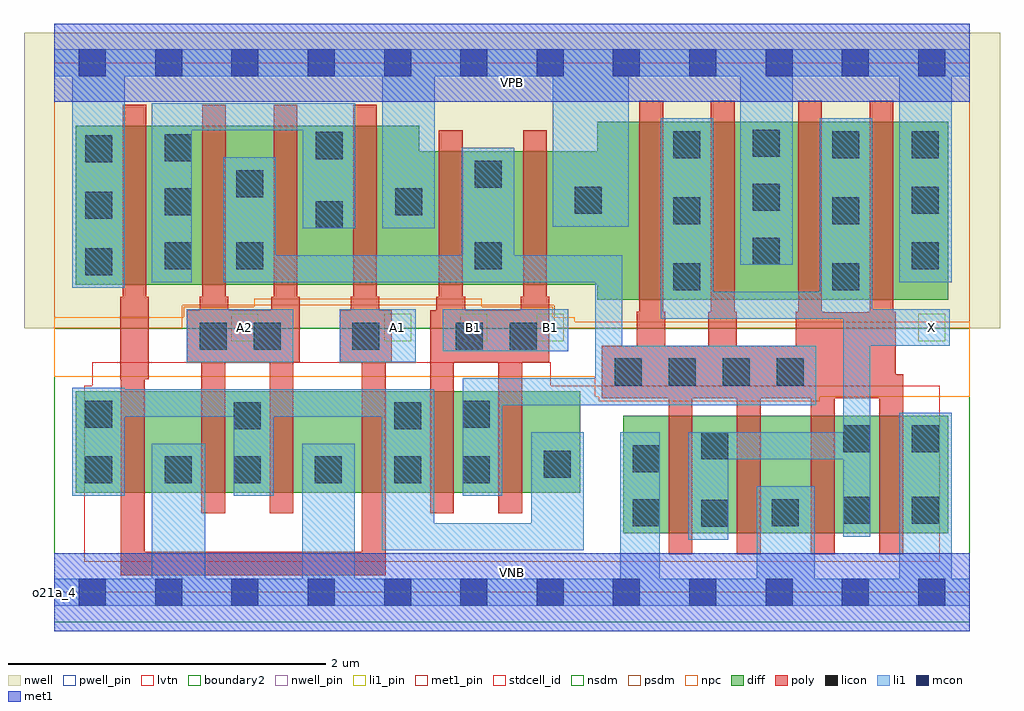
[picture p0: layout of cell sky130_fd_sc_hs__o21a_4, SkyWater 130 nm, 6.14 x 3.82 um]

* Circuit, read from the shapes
.subckt sky130_fd_sc_hs__o21a_4 A1 A2 B1 VGND VNB VPB VPWR X
XM1 VGND A1 n1 VNB sky130_fd_pr__nfet_01v8_lvt w=0.64 l=0.15 m=2
XM2 n1 A2 VGND VNB sky130_fd_pr__nfet_01v8_lvt w=0.64 l=0.15 m=2
XM3 n2 B1 n1 VNB sky130_fd_pr__nfet_01v8_lvt w=0.64 l=0.15 m=2
XM4 X n2 VGND VNB sky130_fd_pr__nfet_01v8_lvt w=0.74 l=0.15 m=4
XM5 n3 A1 VPWR VPB sky130_fd_pr__pfet_01v8 w=1 l=0.15 m=2
XM6 n2 A2 n3 VPB sky130_fd_pr__pfet_01v8 w=1 l=0.15 m=2
XM7 n2 B1 VPWR VPB sky130_fd_pr__pfet_01v8 w=0.84 l=0.15 m=2
XM8 X n2 VPWR VPB sky130_fd_pr__pfet_01v8 w=1.12 l=0.15 m=4
.ends

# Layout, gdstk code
import gdstk
lib = gdstk.Library(unit=1e-6, precision=1e-09)
def R(c, l, rs):  # rectangles x0, y0, x1, y1
    for r in rs: c.add(gdstk.rectangle(r[:2], r[2:], *l))
def A(c, l, x, y, w, h, nx, ny, dx, dy):  # array of equal rectangles
    R(c, l, [(x+i*dx, y+j*dy, x+i*dx+w, y+j*dy+h) for i in range(nx) for j in range(ny)])
def P(c, l, *ps):  # polygons
    for p in ps: c.add(gdstk.Polygon(p, *l))
nwell_pin = (64, 16)
nwell = (64, 20)
diff = (65, 20)
poly = (66, 20)
licon = (66, 44)
li1_pin = (67, 16)
li1 = (67, 20)
mcon = (67, 44)
met1_pin = (68, 16)
met1 = (68, 20)
stdcell_id = (81, 4)
nsdm = (93, 44)
psdm = (94, 20)
npc = (95, 20)
pwell_pin = (122, 16)
lvtn = (125, 44)
boundary2 = (236, 0)

sky130_fd_sc_hs__o21a_4 = lib.new_cell('sky130_fd_sc_hs__o21a_4')
R(sky130_fd_sc_hs__o21a_4, nwell_pin, [(0,3.085,5.76,3.33)])
R(sky130_fd_sc_hs__o21a_4, nwell, [(-0.19,1.66,5.95,3.52)])
R(sky130_fd_sc_hs__o21a_4, diff, [(3.58,0.37,5.625,1.11), (0.135,0.625,3.31,1.265)])
P(sky130_fd_sc_hs__o21a_4, diff, [(5.625,2.96),(3.415,2.96),(3.415,2.775),(2.295,2.775),(2.295,2.935),(0.135,2.935),(0.135,1.935),(3.415,1.935),(3.415,1.84),(5.625,1.84)])
P(sky130_fd_sc_hs__o21a_4, poly, [(1.545,1.86),(1.53,1.86),(1.53,3.065),(1.38,3.065),(1.38,1.86),(1.365,1.86),(1.365,1.775),(1.095,1.775),(1.095,1.86),(1.08,1.86),(1.08,3.065),(0.93,3.065),(0.93,1.86),(0.915,1.86),(0.915,1.775),(0.835,1.775),(0.835,1.445),(0.925,1.445),(0.925,0.495),(1.075,0.495),(1.075,1.445),(1.355,1.445),(1.355,0.495),(1.505,0.495),(1.505,1.445),(1.545,1.445)],
  [(2.125,1.775),(2.045,1.775),(2.045,1.86),(2.03,1.86),(2.03,3.065),(1.88,3.065),(1.88,1.86),(1.865,1.86),(1.865,1.775),(1.795,1.775),(1.795,1.445),(1.935,1.445),(1.935,0.255),(0.57,0.255),(0.57,1.34),(0.595,1.34),(0.595,1.86),(0.58,1.86),(0.58,3.065),(0.43,3.065),(0.43,1.86),(0.415,1.86),(0.415,1.34),(0.42,1.34),(0.42,0.105),(2.085,0.105),(2.085,1.445),(2.125,1.445)],
  [(3.115,1.86),(3.1,1.86),(3.1,2.905),(2.95,2.905),(2.95,1.86),(2.935,1.86),(2.935,1.775),(2.585,1.775),(2.585,1.86),(2.57,1.86),(2.57,2.905),(2.42,2.905),(2.42,1.86),(2.405,1.86),(2.405,1.775),(2.365,1.775),(2.365,0.495),(2.515,0.495),(2.515,1.445),(2.795,1.445),(2.795,0.495),(2.945,0.495),(2.945,1.445),(3.115,1.445)],
  [(5.34,1.37),(5.295,1.37),(5.295,1.765),(5.28,1.765),(5.28,3.09),(5.13,3.09),(5.13,1.765),(5.115,1.765),(5.115,1.76),(4.845,1.76),(4.845,1.765),(4.83,1.765),(4.83,3.09),(4.68,3.09),(4.68,1.765),(4.665,1.765),(4.665,1.55),(4.295,1.55),(4.295,1.765),(4.28,1.765),(4.28,3.09),(4.13,3.09),(4.13,1.765),(4.115,1.765),(4.115,1.55),(3.845,1.55),(3.845,1.765),(3.83,1.765),(3.83,3.09),(3.68,3.09),(3.68,1.765),(3.665,1.765),(3.665,1.55),(3.445,1.55),(3.445,1.22),(3.865,1.22),(3.865,0.24),(4.015,0.24),(4.015,1.22),(4.295,1.22),(4.295,0.24),(4.445,0.24),(4.445,1.22),(4.76,1.22),(4.76,0.24),(4.91,0.24),(4.91,1.22),(5.19,1.22),(5.19,0.24),(5.34,0.24)])
A(sky130_fd_sc_hs__o21a_4, licon, 3.525, 1.3, 0.17, 0.17, 4, 1, 0.34, 0)
A(sky130_fd_sc_hs__o21a_4, licon, 3.895, 1.9, 0.17, 0.17, 1, 3, 0, 0.415)
A(sky130_fd_sc_hs__o21a_4, licon, 4.895, 1.9, 0.17, 0.17, 1, 3, 0, 0.415)
A(sky130_fd_sc_hs__o21a_4, licon, 0.195, 1.995, 0.17, 0.17, 1, 3, 0, 0.355)
A(sky130_fd_sc_hs__o21a_4, licon, 0.695, 2.03, 0.17, 0.17, 1, 3, 0, 0.34)
A(sky130_fd_sc_hs__o21a_4, licon, 5.395, 2.03, 0.17, 0.17, 1, 3, 0, 0.35)
A(sky130_fd_sc_hs__o21a_4, licon, 4.395, 2.06, 0.17, 0.17, 1, 3, 0, 0.34)
R(sky130_fd_sc_hs__o21a_4, licon, [(4.07,0.41,4.24,0.58), (3.64,0.415,3.81,0.585), (4.515,0.415,4.685,0.585), (4.965,0.43,5.135,0.6), (5.395,0.43,5.565,0.6), (0.195,0.685,0.365,0.855), (0.695,0.685,0.865,0.855), (1.13,0.685,1.3,0.855), (1.64,0.685,1.81,0.855), (2.14,0.685,2.31,0.855), (2.57,0.685,2.74,0.855), (3.08,0.72,3.25,0.89), (3.64,0.755,3.81,0.925), (4.07,0.835,4.24,1.005), (4.965,0.88,5.135,1.05), (5.395,0.88,5.565,1.05), (1.13,1.025,1.3,1.195), (2.14,1.025,2.31,1.195), (0.195,1.035,0.365,1.205), (2.57,1.035,2.74,1.205), (0.915,1.525,1.085,1.695), (1.255,1.525,1.425,1.695), (1.875,1.525,2.045,1.695), (2.525,1.525,2.695,1.695), (2.865,1.525,3.035,1.695), (1.145,2.03,1.315,2.2), (2.645,2.03,2.815,2.2), (1.645,2.29,1.815,2.46), (2.145,2.37,2.315,2.54), (3.275,2.38,3.445,2.55), (1.145,2.485,1.315,2.655), (2.645,2.545,2.815,2.715), (1.645,2.725,1.815,2.895)])
A(sky130_fd_sc_hs__o21a_4, li1_pin, 2.075, 1.58, 0.17, 0.17, 3, 1, 0.48, 0)
R(sky130_fd_sc_hs__o21a_4, li1_pin, [(1.115,1.58,1.285,1.75), (5.435,1.58,5.605,1.75)])
R(sky130_fd_sc_hs__o21a_4, li1, [(0.835,1.445,1.505,1.78), (1.795,1.445,2.275,1.78), (2.445,1.515,3.235,1.78)])
P(sky130_fd_sc_hs__o21a_4, li1, [(0,-0.085),(0,0.085),(0.615,0.085),(0.615,0.935),(0.95,0.935),(0.95,0.085),(1.56,0.085),(1.56,0.935),(1.89,0.935),(1.89,0.085),(3.56,0.085),(3.56,1.005),(3.81,1.005),(3.81,0.085),(4.42,0.085),(4.42,0.665),(4.785,0.665),(4.785,0.085),(5.315,0.085),(5.315,1.13),(5.645,1.13),(5.645,0.085),(5.76,0.085),(5.76,-0.085)],
  [(0,3.245),(0,3.415),(5.76,3.415),(5.76,3.245),(5.645,3.245),(5.645,1.95),(5.315,1.95),(5.315,3.245),(4.645,3.245),(4.645,2.06),(4.315,2.06),(4.315,3.245),(3.615,3.245),(3.615,2.3),(3.135,2.3),(3.135,3.245),(2.395,3.245),(2.395,2.29),(2.065,2.29),(2.065,3.245),(0.445,3.245),(0.445,1.915),(0.115,1.915),(0.115,3.245)],
  [(4.815,1.89),(4.815,2.98),(5.145,2.98),(5.145,1.78),(5.635,1.78),(5.635,1.55),(5.135,1.55),(5.135,0.35),(4.965,0.35),(4.965,0.835),(4.24,0.835),(4.24,0.33),(3.99,0.33),(3.99,1.005),(4.965,1.005),(4.965,1.72),(3.815,1.72),(3.815,2.98),(4.145,2.98),(4.145,1.89)],
  [(1.395,2.12),(2.565,2.12),(2.565,2.795),(2.895,2.795),(2.895,2.12),(3.575,2.12),(3.575,1.55),(4.795,1.55),(4.795,1.175),(2.82,1.175),(2.82,0.605),(2.57,0.605),(2.57,1.345),(3.405,1.345),(3.405,1.95),(1.065,1.95),(1.065,2.735),(1.395,2.735)],
  [(3,0.435),(3,1.005),(3.33,1.005),(3.33,0.265),(2.06,0.265),(2.06,1.105),(1.38,1.105),(1.38,0.605),(1.13,0.605),(1.13,1.105),(0.445,1.105),(0.445,0.605),(0.115,0.605),(0.115,1.285),(0.445,1.285),(0.445,1.275),(2.39,1.275),(2.39,0.435)],
  [(1.565,2.29),(1.565,2.905),(0.865,2.905),(0.865,1.95),(0.615,1.95),(0.615,3.075),(1.895,3.075),(1.895,2.29)])
A(sky130_fd_sc_hs__o21a_4, mcon, 0.155, -0.085, 0.17, 0.17, 12, 2, 0.48, 3.33)
R(sky130_fd_sc_hs__o21a_4, met1_pin, [(0,0,5.76,0.245), (0,3.085,5.76,3.33)])
R(sky130_fd_sc_hs__o21a_4, met1, [(0,-0.245,5.76,0.245), (0,3.085,5.76,3.575)])
R(sky130_fd_sc_hs__o21a_4, stdcell_id, [(0,0,5.76,3.33)])
R(sky130_fd_sc_hs__o21a_4, nsdm, [(0,-0.19,5.76,1.66)])
P(sky130_fd_sc_hs__o21a_4, psdm, [(5.76,3.52),(0,3.52),(0,1.66),(0.805,1.66),(0.805,1.805),(3.145,1.805),(3.145,1.66),(5.76,1.66)])
P(sky130_fd_sc_hs__o21a_4, npc, [(5.76,1.7),(3.275,1.7),(3.275,1.73),(3.135,1.73),(3.135,1.795),(2.69,1.795),(2.69,1.845),(1.26,1.845),(1.26,1.795),(0.815,1.795),(0.815,1.73),(0,1.73),(0,1.355),(3.4,1.355),(3.4,1.23),(3.425,1.23),(3.425,1.2),(4.815,1.2),(4.815,1.23),(5.76,1.23)])
R(sky130_fd_sc_hs__o21a_4, pwell_pin, [(0,0,5.76,0.245)])
P(sky130_fd_sc_hs__o21a_4, lvtn, [(5.57,1.3),(3.125,1.3),(3.125,1.445),(0.24,1.445),(0.24,1.3),(0.19,1.3),(0.19,0.19),(5.57,0.19)])
R(sky130_fd_sc_hs__o21a_4, boundary2, [(0,0,5.76,3.33)])
sky130_fd_sc_hs__o21a_4.add(gdstk.Label('o21a_4', (0,0), layer=83, texttype=44))
sky130_fd_sc_hs__o21a_4.add(gdstk.Label('VNB', (2.88,0.123), layer=64, texttype=59))
sky130_fd_sc_hs__o21a_4.add(gdstk.Label('VPB', (2.88,3.208), layer=64, texttype=5))
sky130_fd_sc_hs__o21a_4.add(gdstk.Label('VPWR', (2.88,3.208), layer=68, texttype=5))
sky130_fd_sc_hs__o21a_4.add(gdstk.Label('VGND', (2.88,0.123), layer=68, texttype=5))
sky130_fd_sc_hs__o21a_4.add(gdstk.Label('A1', (2.16,1.665), layer=67, texttype=5))
sky130_fd_sc_hs__o21a_4.add(gdstk.Label('A2', (1.2,1.665), layer=67, texttype=5))
sky130_fd_sc_hs__o21a_4.add(gdstk.Label('B1', (2.64,1.665), layer=67, texttype=5))
sky130_fd_sc_hs__o21a_4.add(gdstk.Label('B1', (3.12,1.665), layer=67, texttype=5))
sky130_fd_sc_hs__o21a_4.add(gdstk.Label('X', (5.52,1.665), layer=67, texttype=5))

lib.write_gds('sky130_fd_sc_hs__o21a_4.gds')
